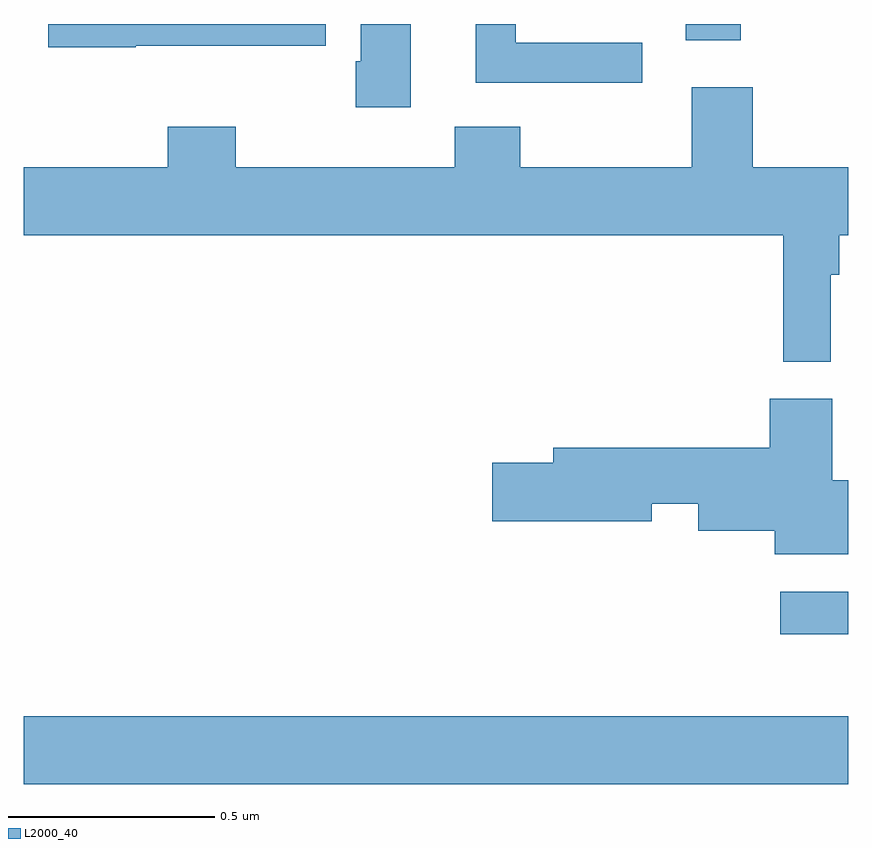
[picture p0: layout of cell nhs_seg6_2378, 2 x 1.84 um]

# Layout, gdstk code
import gdstk
lib = gdstk.Library(unit=1e-6, precision=1e-09)
def R(c, l, rs):  # rectangles x0, y0, x1, y1
    for r in rs: c.add(gdstk.rectangle(r[:2], r[2:], *l))
def P(c, l, *ps):  # polygons
    for p in ps: c.add(gdstk.Polygon(p, *l))
L2000_40 = (2000, 40)

nhs_seg6_2378 = lib.new_cell('nhs_seg6_2378')
R(nhs_seg6_2378, L2000_40, [(142,960.656,144,960.82), (143.835,961.019,144,961.123), (143.606,962.46,143.74,962.5)])
P(nhs_seg6_2378, L2000_40, [(143.5,962.454),(143.194,962.454),(143.194,962.5),(143.097,962.5),(143.097,962.358),(143.5,962.358)],
  [(142.939,962.5),(142.817,962.5),(142.817,962.41),(142.805,962.41),(142.805,962.298),(142.939,962.298)],
  [(142.271,962.447),(142.732,962.447),(142.732,962.5),(142.059,962.5),(142.059,962.443),(142.271,962.443)],
  [(143.958,961.892),(143.978,961.892),(143.978,961.988),(144,961.988),(144,962.152),(143.769,962.152),(143.769,962.347),(143.621,962.347),(143.621,962.152),(143.205,962.152),(143.205,962.251),(143.045,962.251),(143.045,962.152),(142.514,962.152),(142.514,962.251),(142.349,962.251),(142.349,962.152),(142,962.152),(142,961.988),(143.842,961.988),(143.842,961.68),(143.958,961.68)],
  [(144,961.393),(143.962,961.393),(143.962,961.591),(143.81,961.591),(143.81,961.472),(143.285,961.472),(143.285,961.436),(143.136,961.436),(143.136,961.294),(143.524,961.294),(143.524,961.336),(143.636,961.336),(143.636,961.271),(143.822,961.271),(143.822,961.214),(144,961.214)])

lib.write_gds('nhs_seg6_2378.gds')
